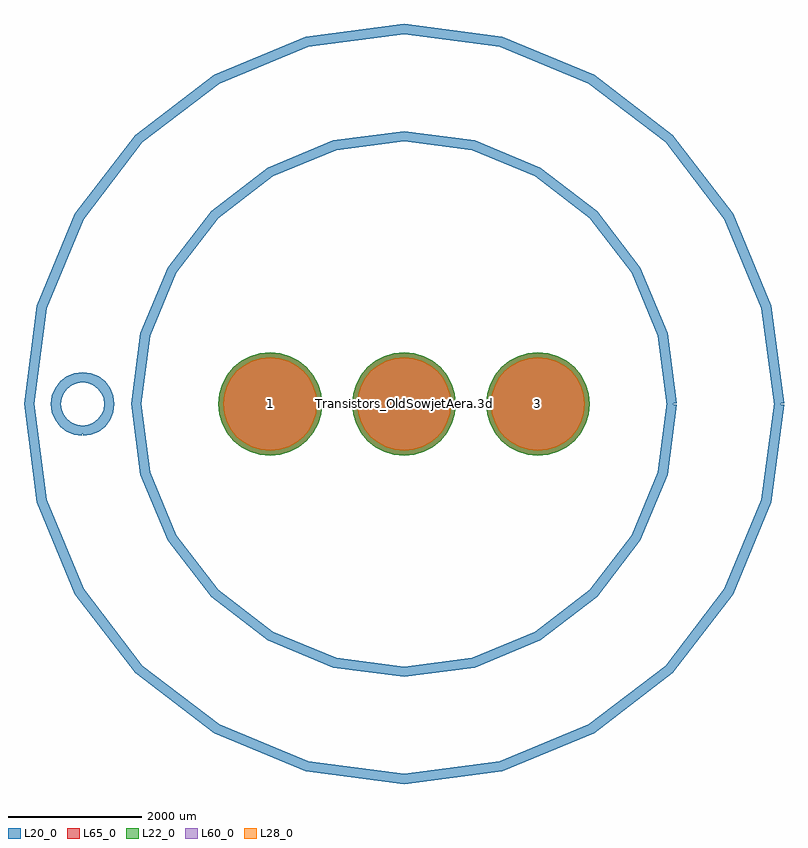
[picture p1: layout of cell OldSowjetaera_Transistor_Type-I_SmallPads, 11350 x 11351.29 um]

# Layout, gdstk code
import gdstk
lib = gdstk.Library(unit=1e-6, precision=1e-09)
def P(c, l, *ps):  # polygons
    for p in ps: c.add(gdstk.Polygon(p, *l))
L20_0 = (20, 0)
L22_0 = (22, 0)
L28_0 = (28, 0)
L60_0 = (60, 0)
L65_0 = (65, 0)

oldsowjetaera_transistor = lib.new_cell('OldSowjetaera_Transistor_Type-I_SmallPads')
P(oldsowjetaera_transistor, L22_0, [(2775,0),(2760.109,151.195),(2716.007,296.58),(2644.389,430.567),(2548.008,548.008),(2430.567,644.389),(2296.58,716.007),(2151.195,760.109),(2000,775),(1848.805,760.109),(1703.42,716.007),(1569.433,644.389),(1451.992,548.008),(1355.611,430.567),(1283.993,296.58),(1239.891,151.195),(1225,0),(1239.891,-151.195),(1283.993,-296.58),(1355.611,-430.567),(1451.992,-548.008),(1569.433,-644.389),(1703.42,-716.007),(1848.805,-760.109),(2000,-775),(2151.195,-760.109),(2296.58,-716.007),(2430.567,-644.389),(2548.008,-548.008),(2644.389,-430.567),(2716.007,-296.58),(2760.109,-151.195)],
  [(-1225,0),(-1239.891,151.195),(-1283.993,296.58),(-1355.611,430.567),(-1451.992,548.008),(-1569.433,644.389),(-1703.42,716.007),(-1848.805,760.109),(-2000,775),(-2151.195,760.109),(-2296.58,716.007),(-2430.567,644.389),(-2548.008,548.008),(-2644.389,430.567),(-2716.007,296.58),(-2760.109,151.195),(-2775,0),(-2760.109,-151.195),(-2716.007,-296.58),(-2644.389,-430.567),(-2548.008,-548.008),(-2430.567,-644.389),(-2296.58,-716.007),(-2151.195,-760.109),(-2000,-775),(-1848.805,-760.109),(-1703.42,-716.007),(-1569.433,-644.389),(-1451.992,-548.008),(-1355.611,-430.567),(-1283.993,-296.58),(-1239.891,-151.195)],
  [(775,0),(760.109,151.195),(716.007,296.58),(644.389,430.567),(548.008,548.008),(430.567,644.389),(296.58,716.007),(151.195,760.109),(0,775),(-151.195,760.109),(-296.58,716.007),(-430.567,644.389),(-548.008,548.008),(-644.389,430.567),(-716.007,296.58),(-760.109,151.195),(-775,0),(-760.109,-151.195),(-716.007,-296.58),(-644.389,-430.567),(-548.008,-548.008),(-430.567,-644.389),(-296.58,-716.007),(-151.195,-760.109),(0,-775),(151.195,-760.109),(296.58,-716.007),(430.567,-644.389),(548.008,-548.008),(644.389,-430.567),(716.007,-296.58),(760.109,-151.195)])
P(oldsowjetaera_transistor, L28_0, [(2700,0),(2686.55,136.563),(2646.716,267.878),(2582.029,388.899),(2494.975,494.975),(2388.899,582.029),(2267.878,646.716),(2136.563,686.55),(2000,700),(1863.437,686.55),(1732.122,646.716),(1611.101,582.029),(1505.025,494.975),(1417.971,388.899),(1353.284,267.878),(1313.45,136.563),(1300,0),(1313.45,-136.563),(1353.284,-267.878),(1417.971,-388.899),(1505.025,-494.975),(1611.101,-582.029),(1732.122,-646.716),(1863.437,-686.55),(2000,-700),(2136.563,-686.55),(2267.878,-646.716),(2388.899,-582.029),(2494.975,-494.975),(2582.029,-388.899),(2646.716,-267.878),(2686.55,-136.563)],
  [(-1300,0),(-1313.45,136.563),(-1353.284,267.878),(-1417.971,388.899),(-1505.025,494.975),(-1611.101,582.029),(-1732.122,646.716),(-1863.437,686.55),(-2000,700),(-2136.563,686.55),(-2267.878,646.716),(-2388.899,582.029),(-2494.975,494.975),(-2582.029,388.899),(-2646.716,267.878),(-2686.55,136.563),(-2700,0),(-2686.55,-136.563),(-2646.716,-267.878),(-2582.029,-388.899),(-2494.975,-494.975),(-2388.899,-582.029),(-2267.878,-646.716),(-2136.563,-686.55),(-2000,-700),(-1863.437,-686.55),(-1732.122,-646.716),(-1611.101,-582.029),(-1505.025,-494.975),(-1417.971,-388.899),(-1353.284,-267.878),(-1313.45,-136.563)],
  [(700,0),(686.55,136.563),(646.716,267.878),(582.029,388.899),(494.975,494.975),(388.899,582.029),(267.878,646.716),(136.563,686.55),(0,700),(-136.563,686.55),(-267.878,646.716),(-388.899,582.029),(-494.975,494.975),(-582.029,388.899),(-646.716,267.878),(-686.55,136.563),(-700,0),(-686.55,-136.563),(-646.716,-267.878),(-582.029,-388.899),(-494.975,-494.975),(-388.899,-582.029),(-267.878,-646.716),(-136.563,-686.55),(0,-700),(136.563,-686.55),(267.878,-646.716),(388.899,-582.029),(494.975,-494.975),(582.029,-388.899),(646.716,-267.878),(686.55,-136.563)])
P(oldsowjetaera_transistor, L60_0, [(2700,0),(2686.55,136.563),(2646.716,267.878),(2582.029,388.899),(2494.975,494.975),(2388.899,582.029),(2267.878,646.716),(2136.563,686.55),(2000,700),(1863.437,686.55),(1732.122,646.716),(1611.101,582.029),(1505.025,494.975),(1417.971,388.899),(1353.284,267.878),(1313.45,136.563),(1300,0),(1313.45,-136.563),(1353.284,-267.878),(1417.971,-388.899),(1505.025,-494.975),(1611.101,-582.029),(1732.122,-646.716),(1863.437,-686.55),(2000,-700),(2136.563,-686.55),(2267.878,-646.716),(2388.899,-582.029),(2494.975,-494.975),(2582.029,-388.899),(2646.716,-267.878),(2686.55,-136.563)],
  [(-1300,0),(-1313.45,136.563),(-1353.284,267.878),(-1417.971,388.899),(-1505.025,494.975),(-1611.101,582.029),(-1732.122,646.716),(-1863.437,686.55),(-2000,700),(-2136.563,686.55),(-2267.878,646.716),(-2388.899,582.029),(-2494.975,494.975),(-2582.029,388.899),(-2646.716,267.878),(-2686.55,136.563),(-2700,0),(-2686.55,-136.563),(-2646.716,-267.878),(-2582.029,-388.899),(-2494.975,-494.975),(-2388.899,-582.029),(-2267.878,-646.716),(-2136.563,-686.55),(-2000,-700),(-1863.437,-686.55),(-1732.122,-646.716),(-1611.101,-582.029),(-1505.025,-494.975),(-1417.971,-388.899),(-1353.284,-267.878),(-1313.45,-136.563)],
  [(700,0),(686.55,136.563),(646.716,267.878),(582.029,388.899),(494.975,494.975),(388.899,582.029),(267.878,646.716),(136.563,686.55),(0,700),(-136.563,686.55),(-267.878,646.716),(-388.899,582.029),(-494.975,494.975),(-582.029,388.899),(-646.716,267.878),(-686.55,136.563),(-700,0),(-686.55,-136.563),(-646.716,-267.878),(-582.029,-388.899),(-494.975,-494.975),(-388.899,-582.029),(-267.878,-646.716),(-136.563,-686.55),(0,-700),(136.563,-686.55),(267.878,-646.716),(388.899,-582.029),(494.975,-494.975),(582.029,-388.899),(646.716,-267.878),(686.55,-136.563)])
P(oldsowjetaera_transistor, L65_0, [(2775,0),(2760.109,151.195),(2716.007,296.58),(2644.389,430.567),(2548.008,548.008),(2430.567,644.389),(2296.58,716.007),(2151.195,760.109),(2000,775),(1848.805,760.109),(1703.42,716.007),(1569.433,644.389),(1451.992,548.008),(1355.611,430.567),(1283.993,296.58),(1239.891,151.195),(1225,0),(1239.891,-151.195),(1283.993,-296.58),(1355.611,-430.567),(1451.992,-548.008),(1569.433,-644.389),(1703.42,-716.007),(1848.805,-760.109),(2000,-775),(2151.195,-760.109),(2296.58,-716.007),(2430.567,-644.389),(2548.008,-548.008),(2644.389,-430.567),(2716.007,-296.58),(2760.109,-151.195)],
  [(-1225,0),(-1239.891,151.195),(-1283.993,296.58),(-1355.611,430.567),(-1451.992,548.008),(-1569.433,644.389),(-1703.42,716.007),(-1848.805,760.109),(-2000,775),(-2151.195,760.109),(-2296.58,716.007),(-2430.567,644.389),(-2548.008,548.008),(-2644.389,430.567),(-2716.007,296.58),(-2760.109,151.195),(-2775,0),(-2760.109,-151.195),(-2716.007,-296.58),(-2644.389,-430.567),(-2548.008,-548.008),(-2430.567,-644.389),(-2296.58,-716.007),(-2151.195,-760.109),(-2000,-775),(-1848.805,-760.109),(-1703.42,-716.007),(-1569.433,-644.389),(-1451.992,-548.008),(-1355.611,-430.567),(-1283.993,-296.58),(-1239.891,-151.195)],
  [(775,0),(760.109,151.195),(716.007,296.58),(644.389,430.567),(548.008,548.008),(430.567,644.389),(296.58,716.007),(151.195,760.109),(0,775),(-151.195,760.109),(-296.58,716.007),(-430.567,644.389),(-548.008,548.008),(-644.389,430.567),(-716.007,296.58),(-760.109,151.195),(-775,0),(-760.109,-151.195),(-716.007,-296.58),(-644.389,-430.567),(-548.008,-548.008),(-430.567,-644.389),(-296.58,-716.007),(-151.195,-760.109),(0,-775),(151.195,-760.109),(296.58,-716.007),(430.567,-644.389),(548.008,-548.008),(644.389,-430.567),(716.007,-296.58),(760.109,-151.195)])
oldsowjetaera_transistor.add(gdstk.FlexPath([(5600,0),(5409.185,1449.387),(4849.742,2800),(3959.798,3959.798),(2800,4849.742),(1449.387,5409.185),(0,5600),(-1449.387,5409.185),(-2800,4849.742),(-3959.798,3959.798),(-4849.742,2800),(-5409.185,1449.387),(-5600,0),(-5409.185,-1449.387),(-4849.742,-2800),(-3959.798,-3959.798),(-2800,-4849.742),(-1449.387,-5409.185),(0,-5600),(1449.387,-5409.185),(2800,-4849.742),(3959.798,-3959.798),(4849.742,-2800),(5409.185,-1449.387),(5600,0)], 149.998, ends="flush", simple_path=True, layer=20, datatype=0))  # L20_0
oldsowjetaera_transistor.add(gdstk.FlexPath([(4000,0),(3863.703,1035.276),(3464.102,2000),(2828.427,2828.427),(2000,3464.102),(1035.276,3863.703),(0,4000),(-1035.276,3863.703),(-2000,3464.102),(-2828.427,2828.427),(-3464.102,2000),(-3863.703,1035.276),(-4000,0),(-3863.703,-1035.276),(-3464.102,-2000),(-2828.427,-2828.427),(-2000,-3464.102),(-1035.276,-3863.703),(0,-4000),(1035.276,-3863.703),(2000,-3464.102),(2828.427,-2828.427),(3464.102,-2000),(3863.703,-1035.276),(4000,0)], 149.998, ends="flush", simple_path=True, layer=20, datatype=0))  # L20_0
oldsowjetaera_transistor.add(gdstk.FlexPath([(-4800,-400),(-4696.472,-386.37),(-4600,-346.41),(-4517.157,-282.843),(-4453.59,-200),(-4413.63,-103.528),(-4400,0),(-4413.63,103.528),(-4453.59,200),(-4517.157,282.843),(-4600,346.41),(-4696.472,386.37),(-4800,400),(-4903.528,386.37),(-5000,346.41),(-5082.843,282.843),(-5146.41,200),(-5186.37,103.528),(-5200,0),(-5186.37,-103.528),(-5146.41,-200),(-5082.843,-282.843),(-5000,-346.41),(-4903.528,-386.37),(-4800,-400)], 149.998, ends="flush", simple_path=True, layer=20, datatype=0))  # L20_0
oldsowjetaera_transistor.add(gdstk.Label('Transistors_OldSowjetAera.3dshapes/OldSowjetaera_Transistor_Type-I_SmallPads.wrl', (0,0), layer=12, texttype=0))
oldsowjetaera_transistor.add(gdstk.Label('3', (2000,0), layer=28, texttype=0))
oldsowjetaera_transistor.add(gdstk.Label('1', (-2000,0), layer=28, texttype=0))
oldsowjetaera_transistor.add(gdstk.Label('2', (0,0), layer=28, texttype=0))
oldsowjetaera_transistor.add(gdstk.Label('type', (100,-7600), layer=9, texttype=0))
oldsowjetaera_transistor.add(gdstk.Label('devicename', (0,7100), layer=9, texttype=0))

lib.write_gds('OldSowjetaera_Transistor_Type-I_SmallPads.gds')
